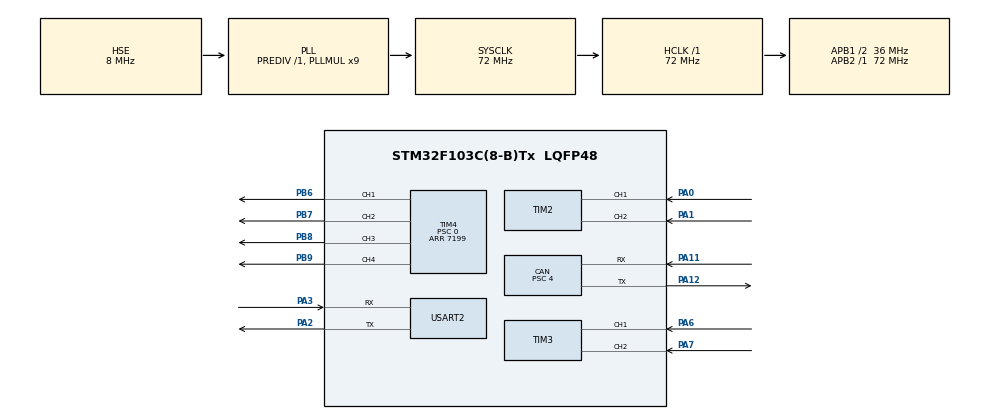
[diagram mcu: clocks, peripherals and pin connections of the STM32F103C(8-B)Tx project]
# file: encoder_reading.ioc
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CAN.ABOM=ENABLE
CAN.BS1=CAN_BS1_14TQ
CAN.BS2=CAN_BS2_3TQ
CAN.CalculateBaudRate=500000
CAN.CalculateTimeBit=2000
CAN.CalculateTimeQuantum=111.11111111111111
CAN.NART=DISABLE
CAN.Prescaler=4
CAN.TXFP=ENABLE
FREERTOS.Tasks01=defaultTask,24,128,StartDefaultTask,Default,NULL,Dynamic,NULL,NULL
FREERTOS.configTOTAL_HEAP_SIZE=8192
FREERTOS.configUSE_MALLOC_FAILED_HOOK=1
FREERTOS.configUSE_NEWLIB_REENTRANT=1
Mcu.Family=STM32F1
Mcu.Name=STM32F103C(8-B)Tx
Mcu.Package=LQFP48
NVIC.PriorityGroup=NVIC_PRIORITYGROUP_4
NVIC.TIM1_UP_IRQn=true\:15\:0\:false\:false\:true\:false\:false\:true\:true
NVIC.TimeBase=TIM1_UP_IRQn
NVIC.TimeBaseIP=TIM1
NVIC.USART2_IRQn=true\:5\:0\:false\:false\:true\:true\:true\:true\:true
NVIC.USB_LP_CAN1_RX0_IRQn=true\:5\:0\:false\:false\:true\:true\:true\:true\:true
PA0-WKUP.Signal=S_TIM2_CH1_ETR
PA1.Signal=S_TIM2_CH2
PA11.Mode=CAN_Activate
PA11.Signal=CAN_RX
PA12.Mode=CAN_Activate
PA12.Signal=CAN_TX
PA13.Mode=Serial_Wire
PA13.Signal=SYS_JTMS-SWDIO
PA14.Mode=Serial_Wire
PA14.Signal=SYS_JTCK-SWCLK
PA2.Mode=Asynchronous
PA2.Signal=USART2_TX
PA3.Mode=Asynchronous
PA3.Signal=USART2_RX
PA6.Signal=S_TIM3_CH1
PA7.Signal=S_TIM3_CH2
PB6.Signal=S_TIM4_CH1
PB7.Signal=S_TIM4_CH2
PB8.Signal=S_TIM4_CH3
PB9.Signal=S_TIM4_CH4
PD0-OSC_IN.Mode=HSE-External-Oscillator
PD0-OSC_IN.Signal=RCC_OSC_IN
PD1-OSC_OUT.Mode=HSE-External-Oscillator
PD1-OSC_OUT.Signal=RCC_OSC_OUT
ProjectManager.HeapSize=0x200
ProjectManager.StackSize=0x400
ProjectManager.TargetToolchain=STM32CubeIDE
RCC.AHBFreq_Value=72000000
RCC.APB1CLKDivider=RCC_HCLK_DIV2
RCC.APB1Freq_Value=36000000
RCC.APB1TimFreq_Value=72000000
RCC.APB2Freq_Value=72000000
RCC.APB2TimFreq_Value=72000000
RCC.HCLKFreq_Value=72000000
RCC.PLLMUL=RCC_PLL_MUL9
RCC.PLLSourceVirtual=RCC_PLLSOURCE_HSE
RCC.SYSCLKFreq_VALUE=72000000
RCC.SYSCLKSource=RCC_SYSCLKSOURCE_PLLCLK
RCC.USBFreq_Value=72000000
SH.S_TIM2_CH1_ETR.0=TIM2_CH1,Encoder_Interface
SH.S_TIM2_CH2.0=TIM2_CH2,Encoder_Interface
SH.S_TIM3_CH1.0=TIM3_CH1,Encoder_Interface
SH.S_TIM3_CH2.0=TIM3_CH2,Encoder_Interface
SH.S_TIM4_CH1.0=TIM4_CH1,PWM Generation1 CH1
SH.S_TIM4_CH2.0=TIM4_CH2,PWM Generation2 CH2
SH.S_TIM4_CH3.0=TIM4_CH3,PWM Generation3 CH3
SH.S_TIM4_CH4.0=TIM4_CH4,PWM Generation4 CH4
TIM2.EncoderMode=TIM_ENCODERMODE_TI12
TIM2.IC1Filter=8
TIM2.IC2Filter=8
TIM3.EncoderMode=TIM_ENCODERMODE_TI12
TIM3.IC1Filter=8
TIM3.IC2Filter=8
TIM4.Channel-PWM\ Generation1\ CH1=TIM_CHANNEL_1
TIM4.Channel-PWM\ Generation2\ CH2=TIM_CHANNEL_2
TIM4.Channel-PWM\ Generation3\ CH3=TIM_CHANNEL_3
TIM4.Channel-PWM\ Generation4\ CH4=TIM_CHANNEL_4
TIM4.Period=7199
TIM4.Prescaler=0
USART2.VirtualMode=VM_ASYNC
VP_FREERTOS_VS_CMSIS_V2.Mode=CMSIS_V2
VP_SYS_VS_tim1.Mode=TIM1
VP_TIM4_VS_ClockSourceINT.Mode=Internal
board=custom

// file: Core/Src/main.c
/* USER CODE BEGIN Header */
/**
  ******************************************************************************
  * @file           : main.c
  * @brief          : Rear STM32 ECU - Dual Rear Motor PID + CAN VCU Interface
  *
  * RTOS architecture:
  *   - CAN RX ISR only copies raw bxCAN FIFO0 frames into a static RTOS queue.
  *   - CanRxTask parses ID 0x040 steering angle commands and updates shared state.
  *   - MotorControlTask runs every 10 ms and owns encoder/PID/PWM control.
  *   - CanTxTask sends average rear speed feedback every 50 ms on CAN ID 0x020.
  *   - DebugTask prints compact USART2 telemetry every 500 ms.
  *
  * CAN protocol used by this file:
  *   RX 0x040, DLC=2: target_angle_cdeg, int16_t, little-endian
  *   TX 0x020, DLC=2: rear_avg_speed_mmps, int16_t, little-endian
  ******************************************************************************
  */
/* USER CODE END Header */
#include "main.h"
#include "cmsis_os.h"

/* USER CODE BEGIN Includes */
#include <stdio.h>
#include <string.h>
#include <math.h>
#include <stdint.h>
#include "cmsis_os2.h"
#include "FreeRTOS.h"
#include "task.h"
#include "queue.h"
/* USER CODE END Includes */

/* USER CODE BEGIN PTD */
typedef struct
{
  float Kp;
  float Ki;
  float Kd;
  float integral;
  float prev_meas;
  float output;
} PID_t;

typedef struct
{
  float angle_deg;
  uint8_t valid;
  uint32_t tick_ms;
} AngleCmdState_t;

typedef struct
{
  CAN_RxHeaderTypeDef header;
  uint8_t data[8];
} CanRxEntry_t;

typedef struct
{
  float angle_deg;
  uint8_t angle_fresh;
  float v_ref_base_mps;
  float v_ref_left_mps;
  float v_ref_right_mps;
  float v_left_mps;
  float v_right_mps;
  float pwm_left_pct;
  float pwm_right_pct;
} RearDebugSnapshot_t;
/* USER CODE END PTD */

/* USER CODE BEGIN PD */

/* ========================= Mechanical constants ========================= */
#define ENC_PPR                         1560.0f
#define WHEEL_DIAMETER_M                0.065f
#define WHEEL_CIRCUMFERENCE_M           (3.1415926f * WHEEL_DIAMETER_M)

/* ========================= Timing ========================= */
#define SAMPLE_TIME_MS                  10U     /* 100 Hz control loop */
#define CAN_SEND_TIME_MS                50U     /* 20 Hz speed feedback */
#define DEBUG_TIME_MS                   500U    /* 2 Hz Hercules debug */
#define ANGLE_TIMEOUT_MS                200U    /* failsafe if VCU command lost */

#define TS_SEC                          (SAMPLE_TIME_MS / 1000.0f)
#define INV_TS_SEC                      (1000.0f / SAMPLE_TIME_MS)

/* ========================= CAN IDs ========================= */
#define CAN_ID_STEERING_CMD_FROM_VCU    0x040U  /* RX: target steering angle, cdeg */
#define CAN_ID_VAVG_FEEDBACK            0x020U  /* TX: rear average speed, mm/s */

/* ========================= Fixed-point CAN scaling ========================= */
#define ANGLE_SCALE_CDEG_PER_DEG        100.0f
#define SPEED_SCALE_MMPS_PER_MPS        1000.0f

/* ========================= Angle limits ========================= */
#define ANGLE_CENTER_DEG                90.0f
#define ANGLE_MIN_DEG                   50.0f
#define ANGLE_MAX_DEG                   130.0f
#define ANGLE_FULL_SCALE_DEG            40.0f
#define ANGLE_CENTER_DEADBAND_DEG       4.0f

/* ========================= Speed scheduling ========================= */
#define VREF_MAX_MPS                    0.30f
#define VREF_MIN_MPS                    0.10f
#define VREF_RAMP_UP_MPS_PER_S          2.0f
#define VREF_RAMP_DOWN_MPS_PER_S        4.0f
#define VREF_STOP_THRESHOLD             0.01f

/* ========================= Electronic differential ========================= */
#define DIFF_MAX_RATIO                  0.1f

/* ========================= Encoder filtering ========================= */
#define SPEED_FILTER_ALPHA              0.30f
#define SPEED_FILTER_BETA               (1.0f - SPEED_FILTER_ALPHA)
#define ENC_TO_MPS                      (WHEEL_CIRCUMFERENCE_M * INV_TS_SEC / ENC_PPR)

/* Change sign if one encoder reports reversed direction */
#define LEFT_SIGN                       (+1.0f)
#define RIGHT_SIGN                      (+1.0f)

/* ========================= PID ========================= */
#define PID_LEFT_KP                     150.0f
#define PID_LEFT_KI                     40.0f
#define PID_LEFT_KD                     0.0f

#define PID_RIGHT_KP                    180.0f
#define PID_RIGHT_KI                    55.0f
#define PID_RIGHT_KD                    0.0f

#define INTEGRAL_CLAMP                  2.0f
#define OUTPUT_CLAMP_PCT                100.0f

/* ========================= PWM ========================= */
#define PWM_TIMER_PERIOD                7199U
#define PWM_MAX_COUNTS                  ((float)PWM_TIMER_PERIOD)
#define MIN_EFFECTIVE_PWM_LEFT_PCT   12.0f
#define MIN_EFFECTIVE_PWM_RIGHT_PCT  28.0f
#define INV_100                         0.01f

/* ========================= RTOS ========================= */
#define CAN_RX_QUEUE_SIZE               4U

#define CAN_RX_TASK_STACK_SIZE          384U
#define MOTOR_TASK_STACK_SIZE           512U
#define CAN_TX_TASK_STACK_SIZE          384U
#define DEBUG_TASK_STACK_SIZE           1536U

/* ========================= Debug ========================= */
#define DEBUG_BUF_LEN                   96U

/* USER CODE END PD */

/* USER CODE BEGIN PM */
#ifndef CLAMP
#define CLAMP(x, lo, hi)   (((x) < (lo)) ? (lo) : (((x) > (hi)) ? (hi) : (x)))
#endif
/* USER CODE END PM */

CAN_HandleTypeDef hcan;

TIM_HandleTypeDef htim2;
TIM_HandleTypeDef htim3;
TIM_HandleTypeDef htim4;

UART_HandleTypeDef huart2;

/* USER CODE BEGIN PV */
static PID_t pid_left =
{
  .Kp = PID_LEFT_KP,
  .Ki = PID_LEFT_KI,
  .Kd = PID_LEFT_KD,
  .integral = 0.0f,
  .prev_meas = 0.0f,
  .output = 0.0f
};

static PID_t pid_right =
{
  .Kp = PID_RIGHT_KP,
  .Ki = PID_RIGHT_KI,
  .Kd = PID_RIGHT_KD,
  .integral = 0.0f,
  .prev_meas = 0.0f,
  .output = 0.0f
};

static int16_t prev_cnt_left = 0;
static int16_t prev_cnt_right = 0;

static volatile float v_left_mps = 0.0f;
static volatile float v_right_mps = 0.0f;
static volatile float v_avg_mps = 0.0f;

static volatile float v_ref_target_mps = 0.0f;
static volatile float v_ref_mps = 0.0f;
static volatile float v_ref_left_mps = 0.0f;
static volatile float v_ref_right_mps = 0.0f;

static volatile AngleCmdState_t g_angle_cmd =
{
  .angle_deg = ANGLE_CENTER_DEG,
  .valid = 0U,
  .tick_ms = 0U
};

static volatile uint8_t g_angle_cmd_reacquired = 0U;

static volatile uint32_t can_rx_ok_count             = 0U;
static volatile uint32_t can_rx_invalid_count        = 0U;
static volatile uint32_t can_rx_dlc_error_count      = 0U;
static volatile uint32_t can_rx_queue_overflow_count = 0U;

static volatile uint32_t can_tx_req_count            = 0U;
static volatile uint32_t can_tx_ok_count             = 0U;
static volatile uint32_t can_tx_err_count            = 0U;
static volatile uint32_t can_busoff_count            = 0U;
static volatile uint32_t can_last_error_code         = 0U;
static volatile uint32_t can_severe_error_count      = 0U;
static volatile uint8_t can_busoff_fault_pending     = 0U;

static char debug_buf[DEBUG_BUF_LEN];

static osMessageQueueId_t can_rx_queue_id = NULL;

static StaticQueue_t can_rx_queue_cb;
static uint8_t can_rx_queue_storage[CAN_RX_QUEUE_SIZE * sizeof(CanRxEntry_t)];

static osThreadId_t can_rx_task_id = NULL;
static osThreadId_t motor_task_id = NULL;
static osThreadId_t can_tx_task_id = NULL;
static osThreadId_t debug_task_id = NULL;

static StaticTask_t can_rx_task_cb;
static StaticTask_t motor_task_cb;
static StaticTask_t can_tx_task_cb;
static StaticTask_t debug_task_cb;

static StackType_t can_rx_task_stack[CAN_RX_TASK_STACK_SIZE / sizeof(StackType_t)];
static StackType_t motor_task_stack[MOTOR_TASK_STACK_SIZE / sizeof(StackType_t)];
static StackType_t can_tx_task_stack[CAN_TX_TASK_STACK_SIZE / sizeof(StackType_t)];
static StackType_t debug_task_stack[DEBUG_TASK_STACK_SIZE / sizeof(StackType_t)];
/* USER CODE END PV */

void SystemClock_Config(void);
static void MX_GPIO_Init(void);
static void MX_TIM2_Init(void);
static void MX_TIM3_Init(void);
static void MX_TIM4_Init(void);
static void MX_USART2_UART_Init(void);
static void MX_CAN_Init(void);

/* USER CODE BEGIN PFP */
static void CAN_Filter_Config(void);
static void CAN_SendSpeedMmps(uint16_t std_id, float speed_mps);
static void RearEcu_RtosInit(void);

static void CanRxTask(void *argument);
static void MotorControlTask(void *argument);
static void CanTxTask(void *argument);
static void DebugTask(void *argument);

static void UART2_Print(const char *s);
static void UART2_PrintStatus(const RearDebugSnapshot_t *snapshot);

static int16_t UnpackI16LE(const uint8_t *src);
static void PackI16LE(uint8_t *dst, int16_t value);
static int16_t ClampI16FromFloat(float x);

static float ComputeSpeedTargetFromAngle(float angle_deg);
static float ApplyRateLimiter(float current, float target, float up_rate, float down_rate, float Ts);
static void ApplyElectronicDifferential(float angle_deg, float base_ref_mps, volatile float *left_ref_mps, volatile float *right_ref_mps);
static void SetEqualWheelRefs(float base_ref_mps, volatile float *left_ref_mps, volatile float *right_ref_mps);
static void EncoderSpeed_Update(void);

static void PID_Reset(PID_t *pid);
static void PID_ResetAll(void);
static float PID_Update(PID_t *pid, float ref, float meas, float Ts);
static void SpeedControl_Reset(void);

static void Motor_SetCommand(TIM_HandleTypeDef *htim,uint32_t ch_fwd,uint32_t ch_rev,float cmd_percent,float min_pwm_pct);
static void Motor_All_Stop(void);

static void AngleCmd_Set(float angle_deg, uint32_t tick_ms);
static AngleCmdState_t AngleCmd_GetSnapshot(void);
static uint8_t AngleCmd_TakeReacquiredFlag(void);
static uint8_t IsAngleCmdFresh(uint32_t now, float *angle_out);
static RearDebugSnapshot_t DebugSnapshot_Get(void);
/* USER CODE END PFP */

/* USER CODE BEGIN 0 */

static int16_t UnpackI16LE(const uint8_t *src)
{
  uint16_t raw = (uint16_t)src[0] | ((uint16_t)src[1] << 8);
  return (int16_t)raw;
}

static void PackI16LE(uint8_t *dst, int16_t value)
{
  uint16_t raw = (uint16_t)value;
  dst[0] = (uint8_t)(raw & 0xFFU);
  dst[1] = (uint8_t)((raw >> 8) & 0xFFU);
}

static int16_t ClampI16FromFloat(float x)
{
  if (x > 32767.0f)
  {
    return 32767;
  }

  if (x < -32768.0f)
  {
    return -32768;
  }

  return (int16_t)lroundf(x);
}

static void UART2_Print(const char *s)
{
  HAL_UART_Transmit(&huart2, (uint8_t *)s, (uint16_t)strlen(s), 10U);
}

static void UART2_PrintStatus(const RearDebugSnapshot_t *snapshot)
{
  snprintf(
      debug_buf,
      sizeof(debug_buf),
      "A=%.1f V=%.2f L=%.2f R=%.2f P=%.0f/%.0f\r\n",
      (double)snapshot->angle_deg,
      (double)snapshot->v_ref_base_mps,
      (double)snapshot->v_left_mps,
      (double)snapshot->v_right_mps,
      (double)snapshot->pwm_left_pct,
      (double)snapshot->pwm_right_pct);

  UART2_Print(debug_buf);
}

static void SpeedControl_Reset(void)
{
  PID_ResetAll();
  v_ref_target_mps = 0.0f;
  v_ref_mps        = 0.0f;
  v_ref_left_mps   = 0.0f;
  v_ref_right_mps  = 0.0f;
}

static void AngleCmd_Set(float angle_deg, uint32_t tick_ms)
{
  uint8_t was_invalid;

  taskENTER_CRITICAL();
  was_invalid = (g_angle_cmd.valid == 0U) ? 1U : 0U;
  g_angle_cmd.angle_deg = angle_deg;
  g_angle_cmd.valid     = 1U;
  g_angle_cmd.tick_ms   = tick_ms;

  if (was_invalid != 0U)
  {
    g_angle_cmd_reacquired = 1U;
  }
  taskEXIT_CRITICAL();
}

static AngleCmdState_t AngleCmd_GetSnapshot(void)
{
  AngleCmdState_t snap;

  taskENTER_CRITICAL();
  snap = g_angle_cmd;
  taskEXIT_CRITICAL();

  return snap;
}

static uint8_t AngleCmd_TakeReacquiredFlag(void)
{
  uint8_t flag;

  taskENTER_CRITICAL();
  flag = g_angle_cmd_reacquired;
  g_angle_cmd_reacquired = 0U;
  taskEXIT_CRITICAL();

  return flag;
}

static uint8_t IsAngleCmdFresh(uint32_t now, float *angle_out)
{
  AngleCmdState_t snap = AngleCmd_GetSnapshot();

  if (angle_out != NULL)
  {
    *angle_out = snap.angle_deg;
  }

  return ((snap.valid != 0U) && ((uint32_t)(now - snap.tick_ms) <= ANGLE_TIMEOUT_MS)) ? 1U : 0U;
}

static RearDebugSnapshot_t DebugSnapshot_Get(void)
{
  RearDebugSnapshot_t snapshot;

  taskENTER_CRITICAL();
  snapshot.angle_deg      = g_angle_cmd.angle_deg;
  snapshot.angle_fresh    = 0U;
  snapshot.v_ref_base_mps = v_ref_mps;
  snapshot.v_ref_left_mps = v_ref_left_mps;
  snapshot.v_ref_right_mps = v_ref_right_mps;
  snapshot.v_left_mps     = v_left_mps;
  snapshot.v_right_mps    = v_right_mps;
  snapshot.pwm_left_pct   = pid_left.output;
  snapshot.pwm_right_pct  = pid_right.output;
  taskEXIT_CRITICAL();

  snapshot.angle_fresh = IsAngleCmdFresh(HAL_GetTick(), NULL);

  return snapshot;
}

static void CAN_Filter_Config(void)
{
  CAN_FilterTypeDef filter = {0};

  filter.FilterBank = 0;
  filter.FilterMode = CAN_FILTERMODE_IDMASK;
  filter.FilterScale = CAN_FILTERSCALE_32BIT;

  /* Accept only standard CAN ID 0x040 from VCU */
  filter.FilterIdHigh     = (CAN_ID_STEERING_CMD_FROM_VCU << 5);
  filter.FilterIdLow      = 0x0000U;
  filter.FilterMaskIdHigh = (0x7FFU << 5);
  filter.FilterMaskIdLow  = 0x0000U;

  filter.FilterFIFOAssignment = CAN_FILTER_FIFO0;
  filter.FilterActivation = ENABLE;

#if defined(CAN2)
  filter.SlaveStartFilterBank = 14;
#endif

  if (HAL_CAN_ConfigFilter(&hcan, &filter) != HAL_OK)
  {
    Error_Handler();
  }
}

static void CAN_SendSpeedMmps(uint16_t std_id, float speed_mps)
{
  CAN_TxHeaderTypeDef txHeader;
  uint8_t txData[8] = {0};
  uint32_t txMailbox;
  int16_t speed_mmps;

  speed_mmps = ClampI16FromFloat(speed_mps * SPEED_SCALE_MMPS_PER_MPS);
  PackI16LE(&txData[0], speed_mmps);

  txHeader.StdId = std_id;
  txHeader.ExtId = 0U;
  txHeader.IDE = CAN_ID_STD;
  txHeader.RTR = CAN_RTR_DATA;
  txHeader.DLC = 2U;
  txHeader.TransmitGlobalTime = DISABLE;

  if (HAL_CAN_GetTxMailboxesFreeLevel(&hcan) == 0U)
  {
    can_tx_err_count++;
    return;
  }

  if (HAL_CAN_AddTxMessage(&hcan, &txHeader, txData, &txMailbox) != HAL_OK)
  {
    can_tx_err_count++;
    return;
  }

  can_tx_req_count++;
}

static float ComputeSpeedTargetFromAngle(float angle_deg)
{
  float delta;
  float normalized;
  float target;

  angle_deg = CLAMP(angle_deg, ANGLE_MIN_DEG, ANGLE_MAX_DEG);
  delta = fabsf(angle_deg - ANGLE_CENTER_DEG);
  normalized = CLAMP(delta / ANGLE_FULL_SCALE_DEG, 0.0f, 1.0f);

  target = VREF_MAX_MPS - (VREF_MAX_MPS - VREF_MIN_MPS) * normalized;

  return CLAMP(target, VREF_MIN_MPS, VREF_MAX_MPS);
}

static float ApplyRateLimiter(float current, float target, float up_rate, float down_rate, float Ts)
{
  float delta = target - current;
  float max_up = up_rate * Ts;
  float max_down = down_rate * Ts;

  if (delta > max_up)
  {
    delta = max_up;
  }
  else if (delta < -max_down)
  {
    delta = -max_down;
  }

  return current + delta;
}

static void SetEqualWheelRefs(float base_ref_mps, volatile float *left_ref_mps, volatile float *right_ref_mps)
{
  if (left_ref_mps != NULL)
  {
    *left_ref_mps = base_ref_mps;
  }

  if (right_ref_mps != NULL)
  {
    *right_ref_mps = base_ref_mps;
  }
}

static void ApplyElectronicDifferential(float angle_deg, float base_ref_mps, volatile float *left_ref_mps, volatile float *right_ref_mps)
{
  float turn_delta;
  float turn_mag;
  float speed_delta;

  if ((left_ref_mps == NULL) || (right_ref_mps == NULL))
  {
    return;
  }

  turn_delta = CLAMP(angle_deg, ANGLE_MIN_DEG, ANGLE_MAX_DEG) - ANGLE_CENTER_DEG;

  if (fabsf(turn_delta) <= ANGLE_CENTER_DEADBAND_DEG)
  {
    SetEqualWheelRefs(base_ref_mps, left_ref_mps, right_ref_mps);
    return;
  }

  turn_mag = CLAMP(fabsf(turn_delta) / ANGLE_FULL_SCALE_DEG, 0.0f, 1.0f);
  speed_delta = base_ref_mps * DIFF_MAX_RATIO * turn_mag;

  if (turn_delta < 0.0f)
  {
    *left_ref_mps  = CLAMP(base_ref_mps - speed_delta, 0.0f, VREF_MAX_MPS);
    *right_ref_mps = CLAMP(base_ref_mps + speed_delta, 0.0f, VREF_MAX_MPS);
  }
  else
  {
    *left_ref_mps  = CLAMP(base_ref_mps + speed_delta, 0.0f, VREF_MAX_MPS);
    *right_ref_mps = CLAMP(base_ref_mps - speed_delta, 0.0f, VREF_MAX_MPS);
  }
}

static void EncoderSpeed_Update(void)
{
  int16_t cnt_left;
  int16_t cnt_right;
  int16_t delta_left;
  int16_t delta_right;
  float raw_left;
  float raw_right;

  cnt_left  = (int16_t)__HAL_TIM_GET_COUNTER(&htim2);
  cnt_right = (int16_t)__HAL_TIM_GET_COUNTER(&htim3);

  delta_left  = (int16_t)(cnt_left  - prev_cnt_left);
  delta_right = (int16_t)(cnt_right - prev_cnt_right);

  prev_cnt_left  = cnt_left;
  prev_cnt_right = cnt_right;

  raw_left  = LEFT_SIGN  * ((float)delta_left)  * ENC_TO_MPS;
  raw_right = RIGHT_SIGN * ((float)delta_right) * ENC_TO_MPS;

  v_left_mps  = SPEED_FILTER_ALPHA * raw_left  + SPEED_FILTER_BETA * v_left_mps;
  v_right_mps = SPEED_FILTER_ALPHA * raw_right + SPEED_FILTER_BETA * v_right_mps;
  v_avg_mps   = 0.5f * (v_left_mps + v_right_mps);
}

static void PID_Reset(PID_t *pid)
{
  pid->integral = 0.0f;
  pid->prev_meas = 0.0f;
  pid->output = 0.0f;
}

static void PID_ResetAll(void)
{
  PID_Reset(&pid_left);
  PID_Reset(&pid_right);
}

static float PID_Update(PID_t *pid, float ref, float meas, float Ts)
{
  float error = ref - meas;
  float derivative = -(meas - pid->prev_meas) / Ts;
  float integral_candidate;
  float output_unsat;

  integral_candidate = pid->integral + error * Ts;
  integral_candidate = CLAMP(integral_candidate, -INTEGRAL_CLAMP, INTEGRAL_CLAMP);

  output_unsat = (pid->Kp * error)
               + (pid->Ki * integral_candidate)
               + (pid->Kd * derivative);

  /* Anti-windup: integrate only when not saturated, or when error helps desaturate. */
  if ((output_unsat >= -OUTPUT_CLAMP_PCT && output_unsat <= OUTPUT_CLAMP_PCT) ||
      ((output_unsat >  OUTPUT_CLAMP_PCT) && (error < 0.0f)) ||
      ((output_unsat < -OUTPUT_CLAMP_PCT) && (error > 0.0f)))
  {
    pid->integral = integral_candidate;
  }
  else
  {
    output_unsat = (pid->Kp * error)
                 + (pid->Ki * pid->integral)
                 + (pid->Kd * derivative);
  }

  pid->output    = CLAMP(output_unsat, -OUTPUT_CLAMP_PCT, OUTPUT_CLAMP_PCT);
  pid->prev_meas = meas;

  return pid->output;
}

static void Motor_SetCommand(
    TIM_HandleTypeDef *htim,
    uint32_t ch_fwd,
    uint32_t ch_rev,
    float cmd_percent,
    float min_pwm_pct)
{
  float mag = fabsf(cmd_percent);
  uint16_t pwm;

  mag = CLAMP(mag, 0.0f, 100.0f);

  if ((mag > 0.0f) && (mag < min_pwm_pct))
  {
    mag = min_pwm_pct;
  }

  pwm = (uint16_t)(mag * INV_100 * PWM_MAX_COUNTS);

  __HAL_TIM_SET_COMPARE(htim, ch_fwd, 0U);
  __HAL_TIM_SET_COMPARE(htim, ch_rev, 0U);

  if (cmd_percent > 0.0f)
  {
    __HAL_TIM_SET_COMPARE(htim, ch_fwd, pwm);
  }
  else if (cmd_percent < 0.0f)
  {
    __HAL_TIM_SET_COMPARE(htim, ch_rev, pwm);
  }
}
static void Motor_All_Stop(void)
{
  __HAL_TIM_SET_COMPARE(&htim4, TIM_CHANNEL_1, 0U);
  __HAL_TIM_SET_COMPARE(&htim4, TIM_CHANNEL_2, 0U);
  __HAL_TIM_SET_COMPARE(&htim4, TIM_CHANNEL_3, 0U);
  __HAL_TIM_SET_COMPARE(&htim4, TIM_CHANNEL_4, 0U);
}

static void CanRxTask(void *argument)
{
  CanRxEntry_t rx_entry;

  (void)argument;

  for (;;)
  {
    if (osMessageQueueGet(can_rx_queue_id, &rx_entry, NULL, osWaitForever) != osOK)
    {
      continue;
    }

    if (rx_entry.header.IDE != CAN_ID_STD)
    {
      can_rx_invalid_count++;
      continue;
    }

    if (rx_entry.header.StdId != CAN_ID_STEERING_CMD_FROM_VCU)
    {
      continue;
    }

    if (rx_entry.header.RTR != CAN_RTR_DATA)
    {
      can_rx_invalid_count++;
      continue;
    }

    if (rx_entry.header.DLC < 2U)
    {
      can_rx_dlc_error_count++;
      continue;
    }

    {
      int16_t parsed_angle_cdeg = UnpackI16LE(&rx_entry.data[0]);
      float parsed_angle_deg = ((float)parsed_angle_cdeg) / ANGLE_SCALE_CDEG_PER_DEG;

      if ((parsed_angle_deg < ANGLE_MIN_DEG) || (parsed_angle_deg > ANGLE_MAX_DEG))
      {
        can_rx_invalid_count++;
        continue;
      }

      if (fabsf(parsed_angle_deg - ANGLE_CENTER_DEG) <= ANGLE_CENTER_DEADBAND_DEG)
      {
        parsed_angle_deg = ANGLE_CENTER_DEG;
      }

      AngleCmd_Set(parsed_angle_deg, HAL_GetTick());
      can_rx_ok_count++;
    }
  }
}

static void MotorControlTask(void *argument)
{
  TickType_t last_wake_tick;
  CanRxEntry_t dropped_entry;

  (void)argument;

  last_wake_tick = xTaskGetTickCount();

  for (;;)
  {
    uint32_t now = osKernelGetTickCount();
    float local_angle = ANGLE_CENTER_DEG;
    uint8_t angle_fresh;
    uint8_t busoff_fault_pending_local = 0U;

    taskENTER_CRITICAL();
    if (can_busoff_fault_pending != 0U)
    {
      busoff_fault_pending_local = 1U;
      can_busoff_fault_pending = 0U;
      g_angle_cmd.valid = 0U;
      g_angle_cmd.tick_ms = 0U;
      g_angle_cmd_reacquired = 0U;
    }
    taskEXIT_CRITICAL();

    while ((busoff_fault_pending_local != 0U) &&
           (can_rx_queue_id != NULL) &&
           (osMessageQueueGet(can_rx_queue_id, &dropped_entry, NULL, 0U) == osOK))
    {
    }

    if (AngleCmd_TakeReacquiredFlag() != 0U)
    {
      SpeedControl_Reset();
    }

    EncoderSpeed_Update();

    angle_fresh = IsAngleCmdFresh(now, &local_angle);

    if (angle_fresh == 0U)
    {
      v_ref_target_mps = 0.0f;
      v_ref_mps = ApplyRateLimiter(
          v_ref_mps,
          0.0f,
          VREF_RAMP_DOWN_MPS_PER_S,
          VREF_RAMP_DOWN_MPS_PER_S,
          TS_SEC);

      if (v_ref_mps <= VREF_STOP_THRESHOLD)
      {
        SpeedControl_Reset();
        SetEqualWheelRefs(0.0f, &v_ref_left_mps, &v_ref_right_mps);
        Motor_All_Stop();
      }
      else
      {
        SetEqualWheelRefs(v_ref_mps, &v_ref_left_mps, &v_ref_right_mps);

        PID_Update(&pid_left,  v_ref_left_mps,  v_left_mps,  TS_SEC);
        PID_Update(&pid_right, v_ref_right_mps, v_right_mps, TS_SEC);

        Motor_SetCommand(&htim4, TIM_CHANNEL_2, TIM_CHANNEL_1,
                         pid_left.output, MIN_EFFECTIVE_PWM_LEFT_PCT);

        Motor_SetCommand(&htim4, TIM_CHANNEL_4, TIM_CHANNEL_3,
                         pid_right.output, MIN_EFFECTIVE_PWM_RIGHT_PCT);
      }
    }
    else
    {
      v_ref_target_mps = ComputeSpeedTargetFromAngle(local_angle);
      v_ref_mps = ApplyRateLimiter(
          v_ref_mps,
          v_ref_target_mps,
          VREF_RAMP_UP_MPS_PER_S,
          VREF_RAMP_DOWN_MPS_PER_S,
          TS_SEC);

      ApplyElectronicDifferential(local_angle, v_ref_mps, &v_ref_left_mps, &v_ref_right_mps);

      PID_Update(&pid_left,  v_ref_left_mps,  v_left_mps,  TS_SEC);
      PID_Update(&pid_right, v_ref_right_mps, v_right_mps, TS_SEC);

      Motor_SetCommand(&htim4, TIM_CHANNEL_2, TIM_CHANNEL_1,
                       pid_left.output, MIN_EFFECTIVE_PWM_LEFT_PCT);

      Motor_SetCommand(&htim4, TIM_CHANNEL_4, TIM_CHANNEL_3,
                       pid_right.output, MIN_EFFECTIVE_PWM_RIGHT_PCT);
    }

    vTaskDelayUntil(&last_wake_tick, pdMS_TO_TICKS(SAMPLE_TIME_MS));
  }
}

static void CanTxTask(void *argument)
{
  TickType_t last_wake_tick;

  (void)argument;

  last_wake_tick = xTaskGetTickCount();

  for (;;)
  {
    float speed_snapshot;

    taskENTER_CRITICAL();
    speed_snapshot = v_avg_mps;
    taskEXIT_CRITICAL();

    CAN_SendSpeedMmps(CAN_ID_VAVG_FEEDBACK, speed_snapshot);

    vTaskDelayUntil(&last_wake_tick, pdMS_TO_TICKS(CAN_SEND_TIME_MS));
  }
}

static void DebugTask(void *argument)
{
  TickType_t last_wake_tick;

  (void)argument;

  last_wake_tick = xTaskGetTickCount();

  for (;;)
  {
    RearDebugSnapshot_t snapshot = DebugSnapshot_Get();
    UART2_PrintStatus(&snapshot);

    vTaskDelayUntil(&last_wake_tick, pdMS_TO_TICKS(DEBUG_TIME_MS));
  }
}

static void RearEcu_RtosInit(void)
{
  static const osMessageQueueAttr_t can_rx_queue_attr =
  {
    .name = "canRxQueue",
    .cb_mem = &can_rx_queue_cb,
    .cb_size = sizeof(can_rx_queue_cb),
    .mq_mem = can_rx_queue_storage,
    .mq_size = sizeof(can_rx_queue_storage)
  };

  static const osThreadAttr_t can_rx_task_attr =
  {
    .name = "CanRxTask",
    .priority = osPriorityHigh,
    .stack_mem = can_rx_task_stack,
    .stack_size = sizeof(can_rx_task_stack),
    .cb_mem = &can_rx_task_cb,
    .cb_size = sizeof(can_rx_task_cb)
  };

  static const osThreadAttr_t motor_task_attr =
  {
    .name = "MotorCtrlTask",
    .priority = osPriorityRealtime,
    .stack_mem = motor_task_stack,
    .stack_size = sizeof(motor_task_stack),
    .cb_mem = &motor_task_cb,
    .cb_size = sizeof(motor_task_cb)
  };

  static const osThreadAttr_t can_tx_task_attr =
  {
    .name = "CanTxTask",
    .priority = osPriorityNormal,
    .stack_mem = can_tx_task_stack,
    .stack_size = sizeof(can_tx_task_stack),
    .cb_mem = &can_tx_task_cb,
    .cb_size = sizeof(can_tx_task_cb)
  };

  static const osThreadAttr_t debug_task_attr =
  {
    .name = "DebugTask",
    .priority = osPriorityLow,
    .stack_mem = debug_task_stack,
    .stack_size = sizeof(debug_task_stack),
    .cb_mem = &debug_task_cb,
    .cb_size = sizeof(debug_task_cb)
  };

  can_rx_queue_id = osMessageQueueNew(CAN_RX_QUEUE_SIZE, sizeof(CanRxEntry_t), &can_rx_queue_attr);
  if (can_rx_queue_id == NULL)
  {
    Error_Handler();
  }

  can_rx_task_id = osThreadNew(CanRxTask, NULL, &can_rx_task_attr);
  motor_task_id = osThreadNew(MotorControlTask, NULL, &motor_task_attr);
  can_tx_task_id = osThreadNew(CanTxTask, NULL, &can_tx_task_attr);
  debug_task_id = osThreadNew(DebugTask, NULL, &debug_task_attr);

  if ((can_rx_task_id == NULL) ||
      (motor_task_id == NULL) ||
      (can_tx_task_id == NULL) ||
      (debug_task_id == NULL))
  {
    Error_Handler();
  }
}
/* USER CODE END 0 */

int main(void)
{

  /* MCU Configuration--------------------------------------------------------*/

  /* Reset of all peripherals, Initializes the Flash interface and the Systick. */
  HAL_Init();

  /* Configure the system clock */
  SystemClock_Config();

  /* Initialize all configured peripherals */
  MX_GPIO_Init();
  MX_TIM2_Init();
  MX_TIM3_Init();
  MX_TIM4_Init();
  MX_USART2_UART_Init();
  MX_CAN_Init();
  /* USER CODE BEGIN 2 */
  if (HAL_TIM_Encoder_Start(&htim2, TIM_CHANNEL_ALL) != HAL_OK) Error_Handler();
  if (HAL_TIM_Encoder_Start(&htim3, TIM_CHANNEL_ALL) != HAL_OK) Error_Handler();

  if (HAL_TIM_PWM_Start(&htim4, TIM_CHANNEL_1) != HAL_OK) Error_Handler();
  if (HAL_TIM_PWM_Start(&htim4, TIM_CHANNEL_2) != HAL_OK) Error_Handler();
  if (HAL_TIM_PWM_Start(&htim4, TIM_CHANNEL_3) != HAL_OK) Error_Handler();
  if (HAL_TIM_PWM_Start(&htim4, TIM_CHANNEL_4) != HAL_OK) Error_Handler();

  Motor_All_Stop();
  PID_ResetAll();
  CAN_Filter_Config();

  prev_cnt_left  = (int16_t)__HAL_TIM_GET_COUNTER(&htim2);
  prev_cnt_right = (int16_t)__HAL_TIM_GET_COUNTER(&htim3);

  __disable_irq();
  g_angle_cmd.angle_deg = ANGLE_CENTER_DEG;
  g_angle_cmd.valid = 0U;
  g_angle_cmd.tick_ms = 0U;
  g_angle_cmd_reacquired = 0U;
  __enable_irq();

  /* USER CODE END 2 */

  /* Init scheduler */
  osKernelInitialize();

  /* USER CODE BEGIN RTOS_QUEUES */
  RearEcu_RtosInit();
  /* USER CODE END RTOS_QUEUES */

  /* Create the thread(s) */

  /* USER CODE BEGIN RTOS_EVENTS */
  if (HAL_CAN_Start(&hcan) != HAL_OK) Error_Handler();
  if (HAL_CAN_ActivateNotification(&hcan,
      CAN_IT_RX_FIFO0_MSG_PENDING |
      CAN_IT_TX_MAILBOX_EMPTY     |
      CAN_IT_BUSOFF               |
      CAN_IT_ERROR) != HAL_OK) Error_Handler();

  UART2_Print("\r\n=== Rear STM32 ECU READY (FreeRTOS) ===\r\n");
  UART2_Print("RX 0x040: target steering angle, int16 centi-degree\r\n");
  UART2_Print("TX 0x020: rear average speed, int16 mm/s\r\n");
  UART2_Print("Tasks: RX queue / 10 ms control / 50 ms CAN TX / 500 ms debug\r\n");
  /* add events, ... */
  /* USER CODE END RTOS_EVENTS */

  /* Start scheduler */
  osKernelStart();

  /* We should never get here as control is now taken by the scheduler */

  /* Infinite loop */
  while (1)
  {

  }
}

void SystemClock_Config(void)
{
  RCC_OscInitTypeDef RCC_OscInitStruct = {0};
  RCC_ClkInitTypeDef RCC_ClkInitStruct = {0};

  /** Initializes the RCC Oscillators according to the specified parameters
  * in the RCC_OscInitTypeDef structure.
  */
  RCC_OscInitStruct.OscillatorType = RCC_OSCILLATORTYPE_HSE;
  RCC_OscInitStruct.HSEState = RCC_HSE_ON;
  RCC_OscInitStruct.HSEPredivValue = RCC_HSE_PREDIV_DIV1;
  RCC_OscInitStruct.HSIState = RCC_HSI_ON;
  RCC_OscInitStruct.PLL.PLLState = RCC_PLL_ON;
  RCC_OscInitStruct.PLL.PLLSource = RCC_PLLSOURCE_HSE;
  RCC_OscInitStruct.PLL.PLLMUL = RCC_PLL_MUL9;
  if (HAL_RCC_OscConfig(&RCC_OscInitStruct) != HAL_OK)
  {
    Error_Handler();
  }

  /** Initializes the CPU, AHB and APB buses clocks
  */
  RCC_ClkInitStruct.ClockType = RCC_CLOCKTYPE_HCLK|RCC_CLOCKTYPE_SYSCLK
                              |RCC_CLOCKTYPE_PCLK1|RCC_CLOCKTYPE_PCLK2;
  RCC_ClkInitStruct.SYSCLKSource = RCC_SYSCLKSOURCE_PLLCLK;
  RCC_ClkInitStruct.AHBCLKDivider = RCC_SYSCLK_DIV1;
  RCC_ClkInitStruct.APB1CLKDivider = RCC_HCLK_DIV2;
  RCC_ClkInitStruct.APB2CLKDivider = RCC_HCLK_DIV1;

  if (HAL_RCC_ClockConfig(&RCC_ClkInitStruct, FLASH_LATENCY_2) != HAL_OK)
  {
    Error_Handler();
  }
}

static void MX_CAN_Init(void)
{

  hcan.Instance = CAN1;
  hcan.Init.Prescaler = 4;
  hcan.Init.Mode = CAN_MODE_NORMAL;
  hcan.Init.SyncJumpWidth = CAN_SJW_1TQ;
  hcan.Init.TimeSeg1 = CAN_BS1_14TQ;
  hcan.Init.TimeSeg2 = CAN_BS2_3TQ;
  hcan.Init.TimeTriggeredMode = DISABLE;
  hcan.Init.AutoBusOff = ENABLE;
  hcan.Init.AutoWakeUp = DISABLE;
  hcan.Init.AutoRetransmission = DISABLE;
  hcan.Init.ReceiveFifoLocked = DISABLE;
  hcan.Init.TransmitFifoPriority = ENABLE;
  if (HAL_CAN_Init(&hcan) != HAL_OK)
  {
    Error_Handler();
  }

}

static void MX_TIM2_Init(void)
{

  TIM_Encoder_InitTypeDef sConfig = {0};
  TIM_MasterConfigTypeDef sMasterConfig = {0};

  htim2.Instance = TIM2;
  htim2.Init.Prescaler = 0;
  htim2.Init.CounterMode = TIM_COUNTERMODE_UP;
  htim2.Init.Period = 65535;
  htim2.Init.ClockDivision = TIM_CLOCKDIVISION_DIV1;
  htim2.Init.AutoReloadPreload = TIM_AUTORELOAD_PRELOAD_DISABLE;
  sConfig.EncoderMode = TIM_ENCODERMODE_TI12;
  sConfig.IC1Polarity = TIM_ICPOLARITY_RISING;
  sConfig.IC1Selection = TIM_ICSELECTION_DIRECTTI;
  sConfig.IC1Prescaler = TIM_ICPSC_DIV1;
  sConfig.IC1Filter = 8;
  sConfig.IC2Polarity = TIM_ICPOLARITY_RISING;
  sConfig.IC2Selection = TIM_ICSELECTION_DIRECTTI;
  sConfig.IC2Prescaler = TIM_ICPSC_DIV1;
  sConfig.IC2Filter = 8;
  if (HAL_TIM_Encoder_Init(&htim2, &sConfig) != HAL_OK)
  {
    Error_Handler();
  }
  sMasterConfig.MasterOutputTrigger = TIM_TRGO_RESET;
  sMasterConfig.MasterSlaveMode = TIM_MASTERSLAVEMODE_DISABLE;
  if (HAL_TIMEx_MasterConfigSynchronization(&htim2, &sMasterConfig) != HAL_OK)
  {
    Error_Handler();
  }

}

static void MX_TIM3_Init(void)
{

  TIM_Encoder_InitTypeDef sConfig = {0};
  TIM_MasterConfigTypeDef sMasterConfig = {0};

  htim3.Instance = TIM3;
  htim3.Init.Prescaler = 0;
  htim3.Init.CounterMode = TIM_COUNTERMODE_UP;
  htim3.Init.Period = 65535;
  htim3.Init.ClockDivision = TIM_CLOCKDIVISION_DIV1;
  htim3.Init.AutoReloadPreload = TIM_AUTORELOAD_PRELOAD_DISABLE;
  sConfig.EncoderMode = TIM_ENCODERMODE_TI12;
  sConfig.IC1Polarity = TIM_ICPOLARITY_RISING;
  sConfig.IC1Selection = TIM_ICSELECTION_DIRECTTI;
  sConfig.IC1Prescaler = TIM_ICPSC_DIV1;
  sConfig.IC1Filter = 8;
  sConfig.IC2Polarity = TIM_ICPOLARITY_RISING;
  sConfig.IC2Selection = TIM_ICSELECTION_DIRECTTI;
  sConfig.IC2Prescaler = TIM_ICPSC_DIV1;
  sConfig.IC2Filter = 8;
  if (HAL_TIM_Encoder_Init(&htim3, &sConfig) != HAL_OK)
  {
    Error_Handler();
  }
  sMasterConfig.MasterOutputTrigger = TIM_TRGO_RESET;
  sMasterConfig.MasterSlaveMode = TIM_MASTERSLAVEMODE_DISABLE;
  if (HAL_TIMEx_MasterConfigSynchronization(&htim3, &sMasterConfig) != HAL_OK)
  {
    Error_Handler();
  }

}

static void MX_TIM4_Init(void)
{

  TIM_ClockConfigTypeDef sClockSourceConfig = {0};
  TIM_MasterConfigTypeDef sMasterConfig = {0};
  TIM_OC_InitTypeDef sConfigOC = {0};

  htim4.Instance = TIM4;
  htim4.Init.Prescaler = 0;
  htim4.Init.CounterMode = TIM_COUNTERMODE_UP;
  htim4.Init.Period = 7199;
  htim4.Init.ClockDivision = TIM_CLOCKDIVISION_DIV1;
  htim4.Init.AutoReloadPreload = TIM_AUTORELOAD_PRELOAD_DISABLE;
  if (HAL_TIM_Base_Init(&htim4) != HAL_OK)
  {
    Error_Handler();
  }
  sClockSourceConfig.ClockSource = TIM_CLOCKSOURCE_INTERNAL;
  if (HAL_TIM_ConfigClockSource(&htim4, &sClockSourceConfig) != HAL_OK)
  {
    Error_Handler();
  }
  if (HAL_TIM_PWM_Init(&htim4) != HAL_OK)
  {
    Error_Handler();
  }
  sMasterConfig.MasterOutputTrigger = TIM_TRGO_RESET;
  sMasterConfig.MasterSlaveMode = TIM_MASTERSLAVEMODE_DISABLE;
  if (HAL_TIMEx_MasterConfigSynchronization(&htim4, &sMasterConfig) != HAL_OK)
  {
    Error_Handler();
  }
  sConfigOC.OCMode = TIM_OCMODE_PWM1;
  sConfigOC.Pulse = 0;
  sConfigOC.OCPolarity = TIM_OCPOLARITY_HIGH;
  sConfigOC.OCFastMode = TIM_OCFAST_DISABLE;
  if (HAL_TIM_PWM_ConfigChannel(&htim4, &sConfigOC, TIM_CHANNEL_1) != HAL_OK)
  {
    Error_Handler();
  }
  if (HAL_TIM_PWM_ConfigChannel(&htim4, &sConfigOC, TIM_CHANNEL_2) != HAL_OK)
  {
    Error_Handler();
  }
  if (HAL_TIM_PWM_ConfigChannel(&htim4, &sConfigOC, TIM_CHANNEL_3) != HAL_OK)
  {
    Error_Handler();
  }
  if (HAL_TIM_PWM_ConfigChannel(&htim4, &sConfigOC, TIM_CHANNEL_4) != HAL_OK)
  {
    Error_Handler();
  }
  HAL_TIM_MspPostInit(&htim4);

}

static void MX_USART2_UART_Init(void)
{

  huart2.Instance = USART2;
  huart2.Init.BaudRate = 115200;
  huart2.Init.WordLength = UART_WORDLENGTH_8B;
  huart2.Init.StopBits = UART_STOPBITS_1;
  huart2.Init.Parity = UART_PARITY_NONE;
  huart2.Init.Mode = UART_MODE_TX_RX;
  huart2.Init.HwFlowCtl = UART_HWCONTROL_NONE;
  huart2.Init.OverSampling = UART_OVERSAMPLING_16;
  if (HAL_UART_Init(&huart2) != HAL_OK)
  {
    Error_Handler();
  }

}

static void MX_GPIO_Init(void)
{

  /* GPIO Ports Clock Enable */
  __HAL_RCC_GPIOD_CLK_ENABLE();
  __HAL_RCC_GPIOA_CLK_ENABLE();
  __HAL_RCC_GPIOB_CLK_ENABLE();

}

/* USER CODE BEGIN 4 */
void HAL_CAN_RxFifo0MsgPendingCallback(CAN_HandleTypeDef *hcan_ptr)
{
  CanRxEntry_t rx_entry;
  CanRxEntry_t dropped_entry;

  if (hcan_ptr->Instance != CAN1)
  {
    return;
  }

  if (HAL_CAN_GetRxMessage(hcan_ptr, CAN_RX_FIFO0, &rx_entry.header, rx_entry.data) != HAL_OK)
  {
    can_rx_invalid_count++;
    return;
  }

  if ((can_rx_queue_id == NULL) || (osKernelGetState() != osKernelRunning))
  {
    can_rx_queue_overflow_count++;
    return;
  }

  if (osMessageQueuePut(can_rx_queue_id, &rx_entry, 0U, 0U) != osOK)
  {
    can_rx_queue_overflow_count++;

    /* Keep the newest steering command and discard the oldest queued frame. */
    if (osMessageQueueGet(can_rx_queue_id, &dropped_entry, NULL, 0U) == osOK)
    {
      (void)osMessageQueuePut(can_rx_queue_id, &rx_entry, 0U, 0U);
    }
  }
}

void HAL_CAN_TxMailbox0CompleteCallback(CAN_HandleTypeDef *hcan_ptr)
{
  if (hcan_ptr->Instance == CAN1)
  {
    can_tx_ok_count++;
  }
}

void HAL_CAN_TxMailbox1CompleteCallback(CAN_HandleTypeDef *hcan_ptr)
{
  if (hcan_ptr->Instance == CAN1)
  {
    can_tx_ok_count++;
  }
}

void HAL_CAN_TxMailbox2CompleteCallback(CAN_HandleTypeDef *hcan_ptr)
{
  if (hcan_ptr->Instance == CAN1)
  {
    can_tx_ok_count++;
  }
}

void HAL_CAN_ErrorCallback(CAN_HandleTypeDef *hcan_ptr)
{
  if (hcan_ptr->Instance == CAN1)
  {
    uint32_t err = HAL_CAN_GetError(hcan_ptr);

    can_last_error_code = err;
    can_tx_err_count++;

    if ((err & HAL_CAN_ERROR_BOF) != 0U)
    {
      can_busoff_count++;
      can_severe_error_count++;
      can_busoff_fault_pending = 1U;
    }
  }
}
/* USER CODE END 4 */

void HAL_TIM_PeriodElapsedCallback(TIM_HandleTypeDef *htim)
{
  if (htim->Instance == TIM1)
  {
    HAL_IncTick();
  }
}

void Error_Handler(void)
{
  /* USER CODE BEGIN Error_Handler_Debug */
  /* User can add his own implementation to report the HAL error return state */
  Motor_All_Stop();
  __disable_irq();
  while (1)
  {
  }
  /* USER CODE END Error_Handler_Debug */
}

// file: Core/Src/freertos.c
/* USER CODE BEGIN Header */
/**
  ******************************************************************************
  * File Name          : freertos.c
  * Description        : Code for freertos applications
  ******************************************************************************
  * @attention
  *
  * Copyright (c) 2026 STMicroelectronics.
  * All rights reserved.
  *
  * This software is licensed under terms that can be found in the LICENSE file
  * in the root directory of this software component.
  * If no LICENSE file comes with this software, it is provided AS-IS.
  *
  ******************************************************************************
  */
/* USER CODE END Header */

#include "FreeRTOS.h"
#include "task.h"
#include "main.h"

/* Hook prototypes */
void vApplicationMallocFailedHook(void);

/* USER CODE BEGIN 5 */
void vApplicationMallocFailedHook(void)
{
   /* vApplicationMallocFailedHook() will only be called if
   configUSE_MALLOC_FAILED_HOOK is set to 1 in FreeRTOSConfig.h. It is a hook
   function that will get called if a call to pvPortMalloc() fails.
   pvPortMalloc() is called internally by the kernel whenever a task, queue,
   timer or semaphore is created. It is also called by various parts of the
   demo application. If heap_1.c or heap_2.c are used, then the size of the
   heap available to pvPortMalloc() is defined by configTOTAL_HEAP_SIZE in
   FreeRTOSConfig.h, and the xPortGetFreeHeapSize() API function can be used
   to query the size of free heap space that remains (although it does not
   provide information on how the remaining heap might be fragmented). */
}
/* USER CODE END 5 */
